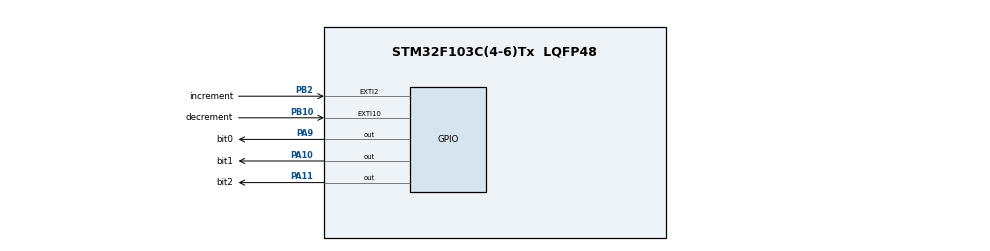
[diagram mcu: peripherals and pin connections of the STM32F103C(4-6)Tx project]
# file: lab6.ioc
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Mcu.Family=STM32F1
Mcu.Name=STM32F103C(4-6)Tx
Mcu.Package=LQFP48
NVIC.EXTI15_10_IRQn=true\:2\:0\:true\:false\:true\:true\:true\:true
NVIC.EXTI2_IRQn=true\:2\:0\:true\:false\:true\:true\:true\:true
NVIC.PriorityGroup=NVIC_PRIORITYGROUP_4
PA10.GPIO_Label=bit1
PA10.Signal=GPIO_Output
PA11.GPIO_Label=bit2
PA11.Signal=GPIO_Output
PA9.GPIO_Label=bit0
PA9.Signal=GPIO_Output
PB10.GPIO_Label=decrement
PB10.Signal=GPXTI10
PB2.GPIO_Label=increment
PB2.Signal=GPXTI2
ProjectManager.HeapSize=0x200
ProjectManager.StackSize=0x400
ProjectManager.TargetToolchain=MDK-ARM V5.32
RCC.APB1Freq_Value=8000000
RCC.APB2Freq_Value=8000000
VP_SYS_VS_ND.Mode=No_Debug
board=custom

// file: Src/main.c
/* USER CODE BEGIN Header */
/**
  ******************************************************************************
  * @file           : main.c
  * @brief          : Main program body
  ******************************************************************************
  * @attention
  *
  * Copyright (c) 2023 STMicroelectronics.
  * All rights reserved.
  *
  * This software is licensed under terms that can be found in the LICENSE file
  * in the root directory of this software component.
  * If no LICENSE file comes with this software, it is provided AS-IS.
  *
  ******************************************************************************
  */
/* USER CODE END Header */
#include "main.h"

/* USER CODE BEGIN Includes */

	// counter value
   uint16_t num_press = 0;

/* USER CODE END Includes */

void SystemClock_Config(void);
static void MX_GPIO_Init(void);

int main(void)
{

  /* MCU Configuration--------------------------------------------------------*/

  /* Reset of all peripherals, Initializes the Flash interface and the Systick. */
  HAL_Init();

  /* Configure the system clock */
  SystemClock_Config();

  /* Initialize all configured peripherals */
  MX_GPIO_Init();

  /* Infinite loop */
  /* USER CODE BEGIN WHILE */
  while (1)
  {

		update_leds(num_press);

    /* USER CODE END WHILE */

  }
}

void SystemClock_Config(void)
{
  RCC_OscInitTypeDef RCC_OscInitStruct = {0};
  RCC_ClkInitTypeDef RCC_ClkInitStruct = {0};

  /** Initializes the RCC Oscillators according to the specified parameters
  * in the RCC_OscInitTypeDef structure.
  */
  RCC_OscInitStruct.OscillatorType = RCC_OSCILLATORTYPE_HSI;
  RCC_OscInitStruct.HSIState = RCC_HSI_ON;
  RCC_OscInitStruct.HSICalibrationValue = RCC_HSICALIBRATION_DEFAULT;
  RCC_OscInitStruct.PLL.PLLState = RCC_PLL_NONE;
  if (HAL_RCC_OscConfig(&RCC_OscInitStruct) != HAL_OK)
  {
    Error_Handler();
  }

  /** Initializes the CPU, AHB and APB buses clocks
  */
  RCC_ClkInitStruct.ClockType = RCC_CLOCKTYPE_HCLK|RCC_CLOCKTYPE_SYSCLK
                              |RCC_CLOCKTYPE_PCLK1|RCC_CLOCKTYPE_PCLK2;
  RCC_ClkInitStruct.SYSCLKSource = RCC_SYSCLKSOURCE_HSI;
  RCC_ClkInitStruct.AHBCLKDivider = RCC_SYSCLK_DIV1;
  RCC_ClkInitStruct.APB1CLKDivider = RCC_HCLK_DIV1;
  RCC_ClkInitStruct.APB2CLKDivider = RCC_HCLK_DIV1;

  if (HAL_RCC_ClockConfig(&RCC_ClkInitStruct, FLASH_LATENCY_0) != HAL_OK)
  {
    Error_Handler();
  }
}

static void MX_GPIO_Init(void)
{
  GPIO_InitTypeDef GPIO_InitStruct = {0};

  /* GPIO Ports Clock Enable */
  __HAL_RCC_GPIOB_CLK_ENABLE();
  __HAL_RCC_GPIOA_CLK_ENABLE();

  /*Configure GPIO pin Output Level */
  HAL_GPIO_WritePin(GPIOA, bit0_Pin|bit1_Pin|bit2_Pin, GPIO_PIN_RESET);

  /*Configure GPIO pins : increment_Pin decrement_Pin */
  GPIO_InitStruct.Pin = increment_Pin|decrement_Pin;
  GPIO_InitStruct.Mode = GPIO_MODE_IT_RISING;
  GPIO_InitStruct.Pull = GPIO_NOPULL;
  HAL_GPIO_Init(GPIOB, &GPIO_InitStruct);

  /*Configure GPIO pins : bit0_Pin bit1_Pin bit2_Pin */
  GPIO_InitStruct.Pin = bit0_Pin|bit1_Pin|bit2_Pin;
  GPIO_InitStruct.Mode = GPIO_MODE_OUTPUT_PP;
  GPIO_InitStruct.Pull = GPIO_NOPULL;
  GPIO_InitStruct.Speed = GPIO_SPEED_FREQ_LOW;
  HAL_GPIO_Init(GPIOA, &GPIO_InitStruct);

  /* EXTI interrupt init*/
  HAL_NVIC_SetPriority(EXTI2_IRQn, 2, 0);
  HAL_NVIC_EnableIRQ(EXTI2_IRQn);

  HAL_NVIC_SetPriority(EXTI15_10_IRQn, 2, 0);
  HAL_NVIC_EnableIRQ(EXTI15_10_IRQn);

}

/* USER CODE BEGIN 4 */

void wait_led(int n) {
	for(int i=0; i<n*1000; i++) { }

}

// update the state of the related leds based on the counter value

void update_leds(uint16_t num_press)
{
	int speed = 0;

//
//	if(0 <= num_press && num_press <=2)
//		speed = 1000;
//	else if (3 <= num_press && num_press <=5)
//		speed = 600;
//	else if (5 <= num_press)
//		speed = 300;

	if(0 == num_press)
		speed = 1200;
	else if (1 == num_press)
		speed = 750;
	else if (2 == num_press)
		speed = 300;

	if(speed > 0) {
			HAL_GPIO_WritePin(GPIOA, GPIO_PIN_9, GPIO_PIN_SET);
			HAL_Delay(speed);
			// wait_led(speed);
			HAL_GPIO_WritePin(GPIOA, GPIO_PIN_9, GPIO_PIN_RESET);

			HAL_GPIO_WritePin(GPIOA, GPIO_PIN_10, GPIO_PIN_SET);
			HAL_Delay(speed);
			// wait_led(speed);
			HAL_GPIO_WritePin(GPIOA, GPIO_PIN_10, GPIO_PIN_RESET);

			HAL_GPIO_WritePin(GPIOA, GPIO_PIN_11, GPIO_PIN_SET);
			HAL_Delay(speed);
			// wait_led(speed);
			HAL_GPIO_WritePin(GPIOA, GPIO_PIN_11, GPIO_PIN_RESET);

			HAL_GPIO_WritePin(GPIOA, GPIO_PIN_10, GPIO_PIN_SET);
			HAL_Delay(speed);
			// wait_led(speed);
			HAL_GPIO_WritePin(GPIOA, GPIO_PIN_10, GPIO_PIN_RESET);

			HAL_GPIO_WritePin(GPIOA, GPIO_PIN_9, GPIO_PIN_SET);
			HAL_Delay(speed);
			// wait_led(speed);
			HAL_GPIO_WritePin(GPIOA, GPIO_PIN_9, GPIO_PIN_RESET);
		}

		HAL_Delay(speed);
		// wait_led(speed);

//// get bit 0 and bit 1 value from current num_press
//		GPIO_PinState bit0_value, bit1_value, bit2_value;
//		bit0_value = (num_press & (uint16_t)1) ? GPIO_PIN_SET:GPIO_PIN_RESET;
//		bit1_value = (num_press & (uint16_t)2) ? GPIO_PIN_SET:GPIO_PIN_RESET;
//		bit2_value = (num_press & (uint16_t)4) ? GPIO_PIN_SET:GPIO_PIN_RESET;

//		// Turn LED on/off based on button value
//		// HAL_GPIO_WritePin(bit0_GPIO_Port, bit0_Pin, bit0_value);
//		// HAL_GPIO_WritePin(bit1_GPIO_Port, bit1_Pin, bit1_value);
//
//		bit0_GPIO_Port->BSRR = (bit0_value ? bit0_Pin : bit0_Pin << 16u) | (bit1_value ? bit1_Pin : bit1_Pin << 16u)
//															 | (bit2_value ? bit2_Pin : bit2_Pin << 16u);
}

/* USER CODE END 4 */

void Error_Handler(void)
{
  __disable_irq();
  while (1)
  {
  }
}
